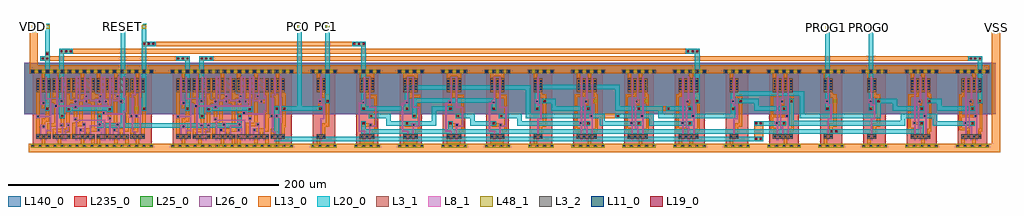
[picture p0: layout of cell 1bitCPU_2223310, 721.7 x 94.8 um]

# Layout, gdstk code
import gdstk
lib = gdstk.Library(unit=1e-6, precision=1e-09)
def R(c, l, rs):  # rectangles x0, y0, x1, y1
    for r in rs: c.add(gdstk.rectangle(r[:2], r[2:], *l))
def A(c, l, x, y, w, h, nx, ny, dx, dy):  # array of equal rectangles
    R(c, l, [(x+i*dx, y+j*dy, x+i*dx+w, y+j*dy+h) for i in range(nx) for j in range(ny)])
def P(c, l, *ps):  # polygons
    for p in ps: c.add(gdstk.Polygon(p, *l))
L3_1 = (3, 1)
L3_2 = (3, 2)
L8_1 = (8, 1)
L11_0 = (11, 0)
L13_0 = (13, 0)
L19_0 = (19, 0)
L20_0 = (20, 0)
L25_0 = (25, 0)
L26_0 = (26, 0)
L48_1 = (48, 1)
L140_0 = (140, 0)
L235_0 = (235, 0)

nand2 = lib.new_cell('NAND2')
A(nand2, L3_1, -1.3, -1.3, 2.6, 2.6, 4, 1, 5.5, 0)
R(nand2, L3_1, [(2.8,39.7,13.4,49.9), (2.8,39.7,13.4,49.9)])
A(nand2, L3_2, -1.3, 53.7, 2.6, 2.6, 4, 1, 5.5, 0)
R(nand2, L3_2, [(2.8,5.1,13.4,8.5)])
P(nand2, L8_1, [(5.6,3.9),(5.6,10.2),(1.8,10.2),(1.8,31.9),(4,31.9),(4,33.5),(5.6,33.5),(5.6,51.1),(6.6,51.1),(6.6,30.9),(2.8,30.9),(2.8,11.2),(6.6,11.2),(6.6,3.9)],
  [(9.6,3.9),(9.6,14),(9.2,14),(9.2,16.6),(11.8,16.6),(11.8,15),(14,15),(14,28),(9.6,28),(9.6,51.1),(10.6,51.1),(10.6,29),(15,29),(15,14),(10.6,14),(10.6,3.9)])
A(nand2, L11_0, -0.5, -0.5, 1, 1, 4, 2, 5.5, 55)
A(nand2, L11_0, 11.6, 41.3, 1, 1, 1, 4, 0, 2)
R(nand2, L11_0, [(3.6,6.3,4.6,7.3), (7.6,6.3,8.6,7.3), (7.6,6.3,8.6,7.3), (11.6,6.3,12.6,7.3), (10,14.8,11,15.8), (4.8,31.7,5.8,32.7), (3.6,41.3,4.6,42.3), (3.6,41.3,4.6,42.3), (3.6,41.3,4.6,42.3), (7.6,41.3,8.6,42.3), (7.6,41.3,8.6,42.3), (7.6,41.3,8.6,42.3), (7.6,41.3,8.6,42.3), (3.6,43.3,4.6,44.3), (3.6,43.3,4.6,44.3), (3.6,43.3,4.6,44.3), (7.6,43.3,8.6,44.3), (7.6,43.3,8.6,44.3), (7.6,43.3,8.6,44.3), (7.6,43.3,8.6,44.3), (3.6,45.3,4.6,46.3), (3.6,45.3,4.6,46.3), (3.6,45.3,4.6,46.3), (7.6,45.3,8.6,46.3), (7.6,45.3,8.6,46.3), (7.6,45.3,8.6,46.3), (7.6,45.3,8.6,46.3), (3.6,47.3,4.6,48.3), (3.6,47.3,4.6,48.3), (3.6,47.3,4.6,48.3), (7.6,47.3,8.6,48.3), (7.6,47.3,8.6,48.3), (7.6,47.3,8.6,48.3), (7.6,47.3,8.6,48.3)])
R(nand2, L13_0, [(6.8,5.1,9.4,8.5)])
P(nand2, L13_0, [(-1.3,-1.3),(-1.3,1.3),(2.8,1.3),(2.8,8.5),(5.4,8.5),(5.4,3.7),(13,3.7),(13,1.3),(17.8,1.3),(17.8,-1.3)],
  [(3.8,14),(3.8,18.2),(7.2,18.2),(7.2,16.6),(11.8,16.6),(11.8,14)],
  [(3.8,25.8),(3.8,29.2),(4,29.2),(4,33.5),(6.6,33.5),(6.6,29.2),(7.2,29.2),(7.2,25.8)],
  [(10.8,5.1),(10.8,8.5),(11.6,8.5),(11.6,12.3),(13.4,12.3),(13.4,20.3),(9.3,20.3),(9.3,23.7),(13.4,23.7),(13.4,35.1),(6.8,35.1),(6.8,49.9),(9.4,49.9),(9.4,37.7),(15.2,37.7),(15.2,10.5),(13.4,10.5),(13.4,5.1)],
  [(2.8,39.7),(2.8,53.7),(-1.3,53.7),(-1.3,56.3),(17.8,56.3),(17.8,53.7),(13.4,53.7),(13.4,39.7),(10.8,39.7),(10.8,51.3),(5.4,51.3),(5.4,39.7)])
R(nand2, L48_1, [(-1.3,-1.3,17.8,1.3), (4.6,15.6,6.4,17.4), (10.1,21.1,11.9,22.9), (4.6,26.6,6.4,28.4), (-1.3,53.7,17.8,56.3)])
R(nand2, L140_0, [(-6.3,23.2,22.8,61.3)])
R(nand2, L235_0, [(0,0,16.5,55)])
nand2.add(gdstk.Label('gnd', (0,0), layer=48, texttype=0))
nand2.add(gdstk.Label('Y', (11,22), layer=48, texttype=0))
nand2.add(gdstk.Label('B', (5.5,16.5), layer=48, texttype=0))
nand2.add(gdstk.Label('A', (5.5,27.5), layer=48, texttype=0))
nand2.add(gdstk.Label('vdd', (0,55), layer=48, texttype=0))

inv_x1 = lib.new_cell('INV_X1')
A(inv_x1, L3_1, -1.3, -1.3, 2.6, 2.6, 4, 1, 5.5, 0)
R(inv_x1, L3_1, [(2.8,39.7,9.4,49.9), (2.8,39.7,9.4,49.9)])
A(inv_x1, L3_2, -1.3, 53.7, 2.6, 2.6, 4, 1, 5.5, 0)
R(inv_x1, L3_2, [(2.8,5.1,9.4,8.5)])
P(inv_x1, L8_1, [(5.6,3.9),(5.6,20.5),(7.7,20.5),(7.7,29.7),(5.6,29.7),(5.6,31.6),(4,31.6),(4,34.2),(5.6,34.2),(5.6,51.1),(6.6,51.1),(6.6,30.7),(8.7,30.7),(8.7,19.5),(6.6,19.5),(6.6,3.9)])
A(inv_x1, L11_0, -0.5, -0.5, 1, 1, 4, 2, 5.5, 55)
A(inv_x1, L11_0, 3.6, 41.3, 1, 1, 1, 4, 0, 2)
A(inv_x1, L11_0, 7.6, 41.3, 1, 1, 1, 4, 0, 2)
R(inv_x1, L11_0, [(3.6,6.3,4.6,7.3), (7.6,6.3,8.6,7.3), (4.8,32.4,5.8,33.4)])
P(inv_x1, L13_0, [(-1.3,-1.3),(-1.3,1.3),(2.8,1.3),(2.8,8.5),(5.4,8.5),(5.4,1.3),(17.8,1.3),(17.8,-1.3)],
  [(3.8,25.8),(3.8,29.2),(4,29.2),(4,34.2),(6.6,34.2),(6.6,29.2),(7.2,29.2),(7.2,25.8)],
  [(6.8,5.1),(6.8,16.5),(9.7,16.5),(9.7,31.3),(9.3,31.3),(9.3,35.6),(6.8,35.6),(6.8,49.9),(9.4,49.9),(9.4,38.2),(12.3,38.2),(12.3,34.7),(12.7,34.7),(12.7,31.3),(12.3,31.3),(12.3,13.9),(9.4,13.9),(9.4,5.1)],
  [(2.8,39.7),(2.8,53.7),(-1.3,53.7),(-1.3,56.3),(17.8,56.3),(17.8,53.7),(5.4,53.7),(5.4,39.7)])
R(inv_x1, L48_1, [(-1.3,-1.3,17.8,1.3), (4.6,26.6,6.4,28.4), (10.1,32.1,11.9,33.9), (-1.3,53.7,17.8,56.3)])
R(inv_x1, L140_0, [(-6.3,23.2,22.8,61.3)])
R(inv_x1, L235_0, [(0,0,16.5,55)])
inv_x1.add(gdstk.Label('A', (5.5,27.5), layer=48, texttype=0))
inv_x1.add(gdstk.Label('vdd', (0,55), layer=48, texttype=0))
inv_x1.add(gdstk.Label('gnd', (0,0), layer=48, texttype=0))
inv_x1.add(gdstk.Label('Y', (11,33), layer=48, texttype=0))

and2_x1 = lib.new_cell('AND2_X1')
A(and2_x1, L3_1, -1.3, -1.3, 2.6, 2.6, 5, 1, 5.5, 0)
R(and2_x1, L3_1, [(2.8,39.7,17.4,49.9), (2.8,39.7,17.4,49.9)])
A(and2_x1, L3_2, -1.3, 53.7, 2.6, 2.6, 5, 1, 5.5, 0)
R(and2_x1, L3_2, [(2.8,5.1,17.4,8.5)])
P(and2_x1, L8_1, [(5.6,3.9),(5.6,15.6),(4.3,15.6),(4.3,18.2),(5.6,18.2),(5.6,51.1),(6.6,51.1),(6.6,18.2),(6.9,18.2),(6.9,15.6),(6.6,15.6),(6.6,3.9)],
  [(9.6,3.9),(9.6,13),(8.1,13),(8.1,33.9),(9.6,33.9),(9.6,51.1),(10.6,51.1),(10.6,33.9),(10.7,33.9),(10.7,31.3),(9.1,31.3),(9.1,14),(10.6,14),(10.6,3.9)],
  [(13.6,3.9),(13.6,20.6),(12,20.6),(12,23.2),(13.6,23.2),(13.6,51.1),(14.6,51.1),(14.6,3.9)])
A(and2_x1, L11_0, -0.5, -0.5, 1, 1, 5, 2, 5.5, 55)
A(and2_x1, L11_0, 3.6, 41.3, 1, 1, 1, 4, 0, 2)
A(and2_x1, L11_0, 15.6, 41.3, 1, 1, 1, 4, 0, 2)
R(and2_x1, L11_0, [(3.6,6.3,4.6,7.3), (7.6,6.3,8.6,7.3), (7.6,6.3,8.6,7.3), (11.6,6.3,12.6,7.3), (11.6,6.3,12.6,7.3), (15.6,6.3,16.6,7.3), (5.1,16.4,6.1,17.4), (12.8,21.4,13.8,22.4), (8.9,32.1,9.9,33.1), (7.6,41.3,8.6,42.3), (7.6,41.3,8.6,42.3), (11.6,41.3,12.6,42.3), (11.6,41.3,12.6,42.3), (7.6,43.3,8.6,44.3), (7.6,43.3,8.6,44.3), (11.6,43.3,12.6,44.3), (11.6,43.3,12.6,44.3), (7.6,45.3,8.6,46.3), (7.6,45.3,8.6,46.3), (11.6,45.3,12.6,46.3), (11.6,45.3,12.6,46.3), (7.6,47.3,8.6,48.3), (7.6,47.3,8.6,48.3), (11.6,47.3,12.6,48.3), (11.6,47.3,12.6,48.3)])
R(and2_x1, L13_0, [(6.8,5.1,9.4,8.5)])
P(and2_x1, L13_0, [(-1.3,-1.3),(-1.3,1.3),(10.8,1.3),(10.8,8.5),(13.4,8.5),(13.4,1.3),(23.3,1.3),(23.3,-1.3)],
  [(9.3,14.8),(9.3,15.6),(4.3,15.6),(4.3,18.2),(6.9,18.2),(6.9,17.4),(9.3,17.4),(9.3,18.2),(12.7,18.2),(12.7,14.8)],
  [(9.3,25.8),(9.3,31.3),(8.1,31.3),(8.1,33.9),(11.1,33.9),(11.1,29.2),(12.7,29.2),(12.7,25.8)],
  [(2.8,5.1),(2.8,8.5),(3.2,8.5),(3.2,11.4),(1.1,11.4),(1.1,38),(7.2,38),(7.2,39.7),(6.8,39.7),(6.8,49.9),(9.4,49.9),(9.4,39.7),(9,39.7),(9,36.2),(2.9,36.2),(2.9,22.8),(12,22.8),(12,23.2),(14.6,23.2),(14.6,20.6),(12,20.6),(12,21),(2.9,21),(2.9,13.2),(5,13.2),(5,8.5),(5.4,8.5),(5.4,5.1)],
  [(14.8,5.1),(14.8,8.5),(15.2,8.5),(15.2,12.6),(16.4,12.6),(16.4,31.3),(14.8,31.3),(14.8,34.7),(16.4,34.7),(16.4,36.2),(15.2,36.2),(15.2,39.7),(14.8,39.7),(14.8,49.9),(17.4,49.9),(17.4,39.7),(17,39.7),(17,38),(18.2,38),(18.2,10.8),(17,10.8),(17,8.5),(17.4,8.5),(17.4,5.1)],
  [(2.8,39.7),(2.8,53.7),(-1.3,53.7),(-1.3,56.3),(23.3,56.3),(23.3,53.7),(13.4,53.7),(13.4,39.7),(10.8,39.7),(10.8,53.7),(5.4,53.7),(5.4,39.7)])
R(and2_x1, L48_1, [(-1.3,-1.3,23.3,1.3), (10.1,15.6,11.9,17.4), (10.1,26.6,11.9,28.4), (15.6,32.1,17.4,33.9), (-1.3,53.7,23.3,56.3)])
R(and2_x1, L140_0, [(-6.3,23.2,28.3,61.3)])
R(and2_x1, L235_0, [(0,0,22,55)])
and2_x1.add(gdstk.Label('vdd', (0,55), layer=48, texttype=0))
and2_x1.add(gdstk.Label('gnd', (0,0), layer=48, texttype=0))
and2_x1.add(gdstk.Label('Y', (16.5,33), layer=48, texttype=0))
and2_x1.add(gdstk.Label('A', (11,16.5), layer=48, texttype=0))
and2_x1.add(gdstk.Label('B', (11,27.5), layer=48, texttype=0))

or2 = lib.new_cell('OR2')
A(or2, L3_1, -1.3, -1.3, 2.6, 2.6, 5, 1, 5.5, 0)
R(or2, L3_1, [(2.8,39.7,17.4,49.9), (2.8,39.7,17.4,49.9)])
A(or2, L3_2, -1.3, 53.7, 2.6, 2.6, 5, 1, 5.5, 0)
R(or2, L3_2, [(2.8,5.1,17.4,8.5)])
P(or2, L8_1, [(5.6,3.9),(5.6,15.6),(4.3,15.6),(4.3,18.2),(5.6,18.2),(5.6,51.1),(6.6,51.1),(6.6,18.2),(6.9,18.2),(6.9,15.6),(6.6,15.6),(6.6,3.9)],
  [(9.6,3.9),(9.6,13),(8.1,13),(8.1,33.9),(9.6,33.9),(9.6,51.1),(10.6,51.1),(10.6,33.9),(10.7,33.9),(10.7,31.3),(9.1,31.3),(9.1,14),(10.6,14),(10.6,3.9)],
  [(13.6,3.9),(13.6,20.6),(12,20.6),(12,23.2),(13.6,23.2),(13.6,51.1),(14.6,51.1),(14.6,3.9)])
A(or2, L11_0, -0.5, -0.5, 1, 1, 5, 2, 5.5, 55)
A(or2, L11_0, 3.6, 41.3, 1, 1, 1, 4, 0, 2)
A(or2, L11_0, 15.6, 41.3, 1, 1, 1, 4, 0, 2)
R(or2, L11_0, [(3.6,6.3,4.6,7.3), (7.6,6.3,8.6,7.3), (7.6,6.3,8.6,7.3), (11.6,6.3,12.6,7.3), (11.6,6.3,12.6,7.3), (15.6,6.3,16.6,7.3), (5.1,16.4,6.1,17.4), (12.8,21.4,13.8,22.4), (8.9,32.1,9.9,33.1), (7.6,41.3,8.6,42.3), (7.6,41.3,8.6,42.3), (11.6,41.3,12.6,42.3), (11.6,41.3,12.6,42.3), (7.6,43.3,8.6,44.3), (7.6,43.3,8.6,44.3), (11.6,43.3,12.6,44.3), (11.6,43.3,12.6,44.3), (7.6,45.3,8.6,46.3), (7.6,45.3,8.6,46.3), (11.6,45.3,12.6,46.3), (11.6,45.3,12.6,46.3), (7.6,47.3,8.6,48.3), (7.6,47.3,8.6,48.3), (11.6,47.3,12.6,48.3), (11.6,47.3,12.6,48.3)])
R(or2, L13_0, [(6.8,39.7,9.4,49.9)])
P(or2, L13_0, [(-1.3,-1.3),(-1.3,1.3),(2.8,1.3),(2.8,8.5),(5.4,8.5),(5.4,1.3),(10.8,1.3),(10.8,8.5),(13.4,8.5),(13.4,1.3),(23.3,1.3),(23.3,-1.3)],
  [(9.3,14.8),(9.3,15.6),(4.3,15.6),(4.3,18.2),(6.9,18.2),(6.9,17.4),(9.3,17.4),(9.3,18.2),(12.7,18.2),(12.7,14.8)],
  [(9.3,25.8),(9.3,31.3),(8.1,31.3),(8.1,33.9),(11.1,33.9),(11.1,29.2),(12.7,29.2),(12.7,25.8)],
  [(6.8,5.1),(6.8,8.5),(7.2,8.5),(7.2,11.4),(1.1,11.4),(1.1,38),(3.2,38),(3.2,39.7),(2.8,39.7),(2.8,49.9),(5.4,49.9),(5.4,39.7),(5,39.7),(5,36.2),(2.9,36.2),(2.9,22.8),(12,22.8),(12,23.2),(14.6,23.2),(14.6,20.6),(12,20.6),(12,21),(2.9,21),(2.9,13.2),(9,13.2),(9,8.5),(9.4,8.5),(9.4,5.1)],
  [(14.8,5.1),(14.8,8.5),(15.2,8.5),(15.2,12.6),(16.4,12.6),(16.4,31.3),(14.8,31.3),(14.8,34.7),(16.4,34.7),(16.4,36.2),(15.2,36.2),(15.2,39.7),(14.8,39.7),(14.8,49.9),(17.4,49.9),(17.4,39.7),(17,39.7),(17,38),(18.2,38),(18.2,10.8),(17,10.8),(17,8.5),(17.4,8.5),(17.4,5.1)],
  [(10.8,39.7),(10.8,53.7),(-1.3,53.7),(-1.3,56.3),(23.3,56.3),(23.3,53.7),(13.4,53.7),(13.4,39.7)])
R(or2, L48_1, [(-1.3,-1.3,23.3,1.3), (10.1,15.6,11.9,17.4), (10.1,26.6,11.9,28.4), (15.6,32.1,17.4,33.9), (-1.3,53.7,23.3,56.3)])
R(or2, L140_0, [(-6.3,23.2,28.3,61.3)])
R(or2, L235_0, [(0,0,22,55)])
or2.add(gdstk.Label('Y', (16.5,33), layer=48, texttype=0))
or2.add(gdstk.Label('A', (11,16.5), layer=48, texttype=0))
or2.add(gdstk.Label('B', (11,27.5), layer=48, texttype=0))
or2.add(gdstk.Label('vdd', (0,55), layer=48, texttype=0))
or2.add(gdstk.Label('gnd', (0,0), layer=48, texttype=0))

via_1 = lib.new_cell('via_1')
R(via_1, L13_0, [(-1.7,-1.7,1.7,1.7)])
R(via_1, L19_0, [(-0.7,-0.7,0.7,0.7)])
R(via_1, L20_0, [(-1.7,-1.7,1.7,1.7)])

dffr = lib.new_cell('DFFR')
A(dffr, L3_1, -1.3, -1.3, 2.6, 2.6, 17, 1, 5.5, 0)
R(dffr, L3_1, [(2.8,39.7,13.4,49.9), (2.8,39.7,13.4,49.9), (14.8,39.7,27.8,49.9), (14.8,39.7,27.8,49.9), (29.2,39.7,46.2,49.9), (29.2,39.7,46.2,49.9), (47.6,39.7,71,49.9), (47.6,39.7,71,49.9), (72.4,39.7,83,49.9), (72.4,39.7,83,49.9)])
A(dffr, L3_2, -1.3, 53.7, 2.6, 2.6, 17, 1, 5.5, 0)
R(dffr, L3_2, [(2.8,5.1,13.4,8.5), (14.8,5.1,27.8,8.5), (29.2,5.1,46.2,8.5), (47.6,5.1,71,8.5), (72.4,5.1,83,8.5)])
P(dffr, L8_1, [(34.4,3.9),(34.4,12.9),(37,12.9),(37,10.3),(35.4,10.3),(35.4,3.9)],
  [(50.4,3.9),(50.4,10.3),(47.6,10.3),(47.6,12.9),(51.4,12.9),(51.4,3.9)],
  [(59.2,3.9),(59.2,12.9),(61.8,12.9),(61.8,10.3),(60.2,10.3),(60.2,3.9)],
  [(5.6,3.9),(5.6,15.65),(9.4,15.65),(9.4,13.05),(6.6,13.05),(6.6,3.9)],
  [(21.6,3.9),(21.6,13.9),(20,13.9),(20,16.5),(22.6,16.5),(22.6,3.9)],
  [(24,3.9),(24,11.7),(25.9,11.7),(25.9,13.9),(25.1,13.9),(25.1,16.5),(27.7,16.5),(27.7,13.9),(26.9,13.9),(26.9,10.7),(25,10.7),(25,3.9)],
  [(38.4,3.9),(38.4,14.3),(36.8,14.3),(36.8,16.9),(39.4,16.9),(39.4,3.9)],
  [(42.4,3.9),(42.4,15.3),(48.2,15.3),(48.2,16.9),(50.8,16.9),(50.8,14.3),(43.4,14.3),(43.4,3.9)],
  [(63.2,3.9),(63.2,14.3),(61.6,14.3),(61.6,16.9),(64.2,16.9),(64.2,3.9)],
  [(32,3.9),(32,18.3),(30.4,18.3),(30.4,20.9),(33,20.9),(33,19.3),(53.8,19.3),(53.8,3.9),(52.8,3.9),(52.8,18.3),(33,18.3),(33,3.9)],
  [(56.8,3.9),(56.8,18.9),(55.8,18.9),(55.8,21.5),(58.4,21.5),(58.4,18.9),(57.8,18.9),(57.8,3.9)],
  [(5.6,30.25),(5.6,51.1),(6.6,51.1),(6.6,32.85),(9.4,32.85),(9.4,30.25)],
  [(9.6,3.9),(9.6,11.65),(12.9,11.65),(12.9,21.2),(5.4,21.2),(5.4,20.4),(2.8,20.4),(2.8,23),(5.4,23),(5.4,22.2),(12.9,22.2),(12.9,34.25),(9.6,34.25),(9.6,51.1),(10.6,51.1),(10.6,35.25),(13.9,35.25),(13.9,10.65),(10.6,10.65),(10.6,3.9)],
  [(20,31.7),(20,34.3),(21.6,34.3),(21.6,51.1),(22.6,51.1),(22.6,31.7)],
  [(30.4,31.3),(30.4,33.9),(32,33.9),(32,51.1),(33,51.1),(33,31.3)],
  [(38.4,31.3),(38.4,32.9),(34.4,32.9),(34.4,51.1),(35.4,51.1),(35.4,33.9),(41,33.9),(41,31.3)],
  [(38.4,35.3),(38.4,51.1),(39.4,51.1),(39.4,37.9),(41,37.9),(41,35.3)],
  [(48.2,31.3),(48.2,32.9),(42.4,32.9),(42.4,51.1),(43.4,51.1),(43.4,33.9),(50.8,33.9),(50.8,31.3)],
  [(48.8,35.3),(48.8,37.9),(50.4,37.9),(50.4,51.1),(51.4,51.1),(51.4,35.3)],
  [(52.8,31.3),(52.8,51.1),(53.8,51.1),(53.8,33.9),(55.4,33.9),(55.4,31.3)],
  [(17.6,3.9),(17.6,28.1),(16,28.1),(16,30.7),(17.6,30.7),(17.6,51.1),(18.6,51.1),(18.6,29.9),(24,29.9),(24,51.1),(25,51.1),(25,29.9),(56.8,29.9),(56.8,51.1),(57.8,51.1),(57.8,28.9),(33,28.9),(33,27.3),(30.4,27.3),(30.4,28.9),(18.6,28.9),(18.6,3.9)],
  [(64.2,31.3),(64.2,32.9),(59.2,32.9),(59.2,51.1),(60.2,51.1),(60.2,33.9),(66.8,33.9),(66.8,31.3)],
  [(61.6,35.3),(61.6,37.9),(63.2,37.9),(63.2,51.1),(64.2,51.1),(64.2,35.3)],
  [(67.2,3.9),(67.2,22.9),(51.4,22.9),(51.4,25.5),(54,25.5),(54,23.9),(67.2,23.9),(67.2,25.7),(68.4,25.7),(68.4,35.9),(67.2,35.9),(67.2,51.1),(68.2,51.1),(68.2,36.9),(69.4,36.9),(69.4,24.7),(68.2,24.7),(68.2,3.9)],
  [(75.2,3.9),(75.2,9.9),(73.3,9.9),(73.3,20.7),(71.7,20.7),(71.7,23.3),(73.3,23.3),(73.3,38.3),(75.2,38.3),(75.2,51.1),(76.2,51.1),(76.2,37.3),(74.3,37.3),(74.3,10.9),(76.2,10.9),(76.2,3.9)],
  [(79.2,3.9),(79.2,20.7),(75.7,20.7),(75.7,23.3),(79.2,23.3),(79.2,51.1),(80.2,51.1),(80.2,3.9)])
A(dffr, L11_0, -0.5, -0.5, 1, 1, 17, 2, 5.5, 55)
A(dffr, L11_0, 7.6, 6.3, 1, 1, 4, 2, 4, 35)
A(dffr, L11_0, 40.4, 6.3, 1, 1, 3, 1, 4, 0)
A(dffr, L11_0, 65.2, 6.3, 1, 1, 4, 1, 4, 0)
A(dffr, L11_0, 3.6, 41.3, 1, 1, 1, 4, 0, 2)
A(dffr, L11_0, 7.6, 41.3, 1, 1, 1, 4, 0, 2)
A(dffr, L11_0, 19.6, 41.3, 1, 1, 1, 4, 0, 2)
A(dffr, L11_0, 26, 41.3, 1, 1, 1, 4, 0, 2)
A(dffr, L11_0, 30, 41.3, 1, 1, 1, 4, 0, 2)
A(dffr, L11_0, 44.4, 41.3, 1, 1, 1, 4, 0, 2)
A(dffr, L11_0, 48.4, 41.3, 1, 1, 1, 4, 0, 2)
A(dffr, L11_0, 69.2, 41.3, 1, 1, 3, 4, 4, 2)
A(dffr, L11_0, 77.2, 41.3, 1, 1, 1, 4, 0, 2)
A(dffr, L11_0, 81.2, 41.3, 1, 1, 1, 4, 0, 2)
A(dffr, L11_0, 7.6, 43.3, 1, 1, 4, 3, 4, 2)
R(dffr, L11_0, [(3.6,6.3,4.6,7.3), (7.6,6.3,8.6,7.3), (19.6,6.3,20.6,7.3), (26,6.3,27,7.3), (30,6.3,31,7.3), (36.4,6.3,37.4,7.3), (36.4,6.3,37.4,7.3), (40.4,6.3,41.4,7.3), (54.8,6.3,55.8,7.3), (54.8,6.3,55.8,7.3), (61.2,6.3,62.2,7.3), (61.2,6.3,62.2,7.3), (65.2,6.3,66.2,7.3), (77.2,6.3,78.2,7.3), (81.2,6.3,82.2,7.3), (35.2,11.1,36.2,12.1), (48.4,11.1,49.4,12.1), (60,11.1,61,12.1), (7.6,13.85,8.6,14.85), (20.8,14.7,21.8,15.7), (25.9,14.7,26.9,15.7), (37.6,15.1,38.6,16.1), (49,15.1,50,16.1), (62.4,15.1,63.4,16.1), (31.2,19.1,32.2,20.1), (56.6,19.7,57.6,20.7), (3.6,21.2,4.6,22.2), (72.5,21.5,73.5,22.5), (76.5,21.5,77.5,22.5), (52.2,23.7,53.2,24.7), (31.2,28.1,32.2,29.1), (16.8,28.9,17.8,29.9), (7.6,31.05,8.6,32.05), (31.2,32.1,32.2,33.1), (39.2,32.1,40.2,33.1), (49,32.1,50,33.1), (53.6,32.1,54.6,33.1), (65,32.1,66,33.1), (20.8,32.5,21.8,33.5), (39.2,36.1,40.2,37.1), (49.6,36.1,50.6,37.1), (62.4,36.1,63.4,37.1), (36.4,41.3,37.4,42.3), (36.4,41.3,37.4,42.3), (54.8,41.3,55.8,42.3), (54.8,41.3,55.8,42.3), (61.2,41.3,62.2,42.3), (61.2,41.3,62.2,42.3), (36.4,43.3,37.4,44.3), (36.4,43.3,37.4,44.3), (54.8,43.3,55.8,44.3), (54.8,43.3,55.8,44.3), (61.2,43.3,62.2,44.3), (61.2,43.3,62.2,44.3), (36.4,45.3,37.4,46.3), (36.4,45.3,37.4,46.3), (54.8,45.3,55.8,46.3), (54.8,45.3,55.8,46.3), (61.2,45.3,62.2,46.3), (61.2,45.3,62.2,46.3), (36.4,47.3,37.4,48.3), (36.4,47.3,37.4,48.3), (54.8,47.3,55.8,48.3), (54.8,47.3,55.8,48.3), (61.2,47.3,62.2,48.3), (61.2,47.3,62.2,48.3)])
R(dffr, L13_0, [(2.8,5.1,5.4,49.9), (30.4,18.3,33,29.9)])
P(dffr, L13_0, [(6.8,13.05),(6.8,20.5),(9.7,20.5),(9.7,25.8),(9.3,25.8),(9.3,27.7),(6.8,27.7),(6.8,32.85),(9.4,32.85),(9.4,30.3),(12.3,30.3),(12.3,29.2),(12.7,29.2),(12.7,25.8),(12.3,25.8),(12.3,17.9),(9.4,17.9),(9.4,13.05)],
  [(10.8,5.1),(10.8,16.5),(16,16.5),(16,31.7),(10.8,31.7),(10.8,49.9),(13.4,49.9),(13.4,34.3),(18.6,34.3),(18.6,13.9),(13.4,13.9),(13.4,5.1)],
  [(39.6,5.1),(39.6,10.3),(34.4,10.3),(34.4,12.9),(43.6,12.9),(43.6,31.3),(38.4,31.3),(38.4,33.9),(43.6,33.9),(43.6,49.9),(46.2,49.9),(46.2,37.9),(51.4,37.9),(51.4,35.3),(46.2,35.3),(46.2,12.9),(50.2,12.9),(50.2,10.3),(42.2,10.3),(42.2,5.1)],
  [(64.4,5.1),(64.4,10.3),(59.2,10.3),(59.2,12.9),(68.4,12.9),(68.4,31.3),(64.2,31.3),(64.2,33.9),(68.4,33.9),(68.4,49.9),(71,49.9),(71,23.3),(74.3,23.3),(74.3,20.7),(71,20.7),(71,10.3),(67,10.3),(67,5.1)],
  [(80.4,5.1),(80.4,16.4),(81.2,16.4),(81.2,25.8),(80.8,25.8),(80.8,29.2),(81.2,29.2),(81.2,35.7),(80.4,35.7),(80.4,49.9),(83,49.9),(83,38.3),(83.8,38.3),(83.8,29.2),(84.2,29.2),(84.2,25.8),(83.8,25.8),(83.8,13.8),(83,13.8),(83,5.1)],
  [(25.2,5.1),(25.2,8.5),(29.2,8.5),(29.2,16.9),(34.4,16.9),(34.4,35.3),(29.2,35.3),(29.2,39.7),(25.2,39.7),(25.2,49.9),(31.8,49.9),(31.8,37.9),(41,37.9),(41,35.3),(37,35.3),(37,16.9),(39.4,16.9),(39.4,14.3),(31.8,14.3),(31.8,5.1)],
  [(-1.3,-1.3),(-1.3,1.3),(6.8,1.3),(6.8,8.5),(9.4,8.5),(9.4,1.3),(18.8,1.3),(18.8,8.5),(21.4,8.5),(21.4,1.3),(35.6,1.3),(35.6,8.5),(38.2,8.5),(38.2,1.3),(43.6,1.3),(43.6,8.5),(46.2,8.5),(46.2,1.3),(47.6,1.3),(47.6,8.5),(50.2,8.5),(50.2,1.3),(60.4,1.3),(60.4,8.5),(63,8.5),(63,1.3),(68.4,1.3),(68.4,8.5),(71,8.5),(71,1.3),(76.4,1.3),(76.4,8.5),(79,8.5),(79,1.3),(89.3,1.3),(89.3,-1.3)],
  [(48.2,14.3),(48.2,20.3),(47.8,20.3),(47.8,23.7),(48.2,23.7),(48.2,33.9),(50.8,33.9),(50.8,25.5),(54,25.5),(54,22.9),(51.2,22.9),(51.2,20.3),(50.8,20.3),(50.8,14.3)],
  [(55.8,18.9),(55.8,25.3),(55.4,25.3),(55.4,28.7),(55.8,28.7),(55.8,31.3),(52.8,31.3),(52.8,33.9),(58.4,33.9),(58.4,28.7),(58.8,28.7),(58.8,25.3),(58.4,25.3),(58.4,18.9)],
  [(20,13.9),(20,16.5),(20.7,16.5),(20.7,20.3),(20.3,20.3),(20.3,23.7),(20.7,23.7),(20.7,31.7),(20,31.7),(20,34.3),(23.3,34.3),(23.3,23.7),(23.7,23.7),(23.7,20.3),(23.3,20.3),(23.3,13.9)],
  [(14.8,5.1),(14.8,12.5),(25.1,12.5),(25.1,35.7),(14.8,35.7),(14.8,49.9),(17.4,49.9),(17.4,38.3),(27.7,38.3),(27.7,33.9),(33,33.9),(33,31.3),(27.7,31.3),(27.7,28.7),(28.5,28.7),(28.5,25.3),(27.7,25.3),(27.7,9.9),(17.4,9.9),(17.4,5.1)],
  [(54,5.1),(54,16.9),(60.2,16.9),(60.2,35.3),(54,35.3),(54,49.9),(56.6,49.9),(56.6,37.9),(64.2,37.9),(64.2,35.3),(62.8,35.3),(62.8,16.9),(64.2,16.9),(64.2,14.3),(56.6,14.3),(56.6,5.1)],
  [(72.4,5.1),(72.4,12.5),(75.7,12.5),(75.7,25.8),(75.3,25.8),(75.3,29.2),(75.7,29.2),(75.7,35.7),(72.4,35.7),(72.4,49.9),(75,49.9),(75,38.3),(78.3,38.3),(78.3,29.2),(78.7,29.2),(78.7,25.8),(78.3,25.8),(78.3,9.9),(75,9.9),(75,5.1)],
  [(6.8,39.7),(6.8,53.7),(-1.3,53.7),(-1.3,56.3),(89.3,56.3),(89.3,53.7),(79,53.7),(79,39.7),(76.4,39.7),(76.4,53.7),(63,53.7),(63,39.7),(60.4,39.7),(60.4,53.7),(50.2,53.7),(50.2,39.7),(47.6,39.7),(47.6,53.7),(38.2,53.7),(38.2,39.7),(35.6,39.7),(35.6,53.7),(21.4,53.7),(21.4,39.7),(18.8,39.7),(18.8,53.7),(9.4,53.7),(9.4,39.7)])
R(dffr, L19_0, [(26.1,26.3,27.5,27.7), (56.4,26.3,57.8,27.7)])
P(dffr, L20_0, [(25.1,25.3),(25.1,29.1),(58.8,29.1),(58.8,25.3),(55.4,25.3),(55.4,25.7),(28.5,25.7),(28.5,25.3)])
R(dffr, L48_1, [(-1.3,-1.3,89.3,1.3), (21.1,21.1,22.9,22.9), (48.6,21.1,50.4,22.9), (10.1,26.6,11.9,28.4), (76.1,26.6,77.9,28.4), (81.6,26.6,83.4,28.4), (-1.3,53.7,89.3,56.3)])
R(dffr, L140_0, [(-6.3,23.2,94.3,61.3)])
R(dffr, L235_0, [(0,0,88,55), (0,0,88,55)])
dffr.add(gdstk.Label('D', (22,22), layer=48, texttype=0))
dffr.add(gdstk.Label('RST', (49.5,22), layer=48, texttype=0))
dffr.add(gdstk.Label('QB', (77,27.5), layer=48, texttype=0))
dffr.add(gdstk.Label('Q', (82.5,27.5), layer=48, texttype=0))
dffr.add(gdstk.Label('gnd', (0,0), layer=48, texttype=0))
dffr.add(gdstk.Label('CK', (11,27.5), layer=48, texttype=0))
dffr.add(gdstk.Label('vdd', (0,55), layer=48, texttype=0))

c_1bitcpu_2223310 = lib.new_cell('1bitCPU_2223310')
R(c_1bitcpu_2223310, L13_0, [(533.5,3.4,540.3,18.2)])
R(c_1bitcpu_2223310, L25_0, [(-6.3,23.2,712.4,61.3)])
R(c_1bitcpu_2223310, L26_0, [(-6.3,23.2,712.4,61.3)])
R(c_1bitcpu_2223310, L48_1, [(-0.8,86.4,2.3,89.4), (9.5,86.4,12.6,89.4), (65.5,86.4,68.6,89.4), (80.9,86.4,84,89.4), (195.9,86.4,199,89.4), (216.7,86.4,219.8,89.4), (586.2,86.4,589.3,89.4), (618.3,86.4,621.4,89.4), (710.9,86.4,714,89.4)])
R(c_1bitcpu_2223310, L140_0, [(-6.3,23.2,712.4,61.3)])
c_1bitcpu_2223310.add(gdstk.FlexPath([(707.4,56.7),(-1.3,56.7)], 6, ends="flush", simple_path=True, layer=13, datatype=0))  # L13_0
c_1bitcpu_2223310.add(gdstk.FlexPath([(10.1,64.5),(116.3,64.5)], 3.4, ends="flush", simple_path=True, layer=13, datatype=0))  # L13_0
c_1bitcpu_2223310.add(gdstk.FlexPath([(19.7,69.9),(493.2,69.9)], 3.4, ends="flush", simple_path=True, layer=13, datatype=0))  # L13_0
c_1bitcpu_2223310.add(gdstk.FlexPath([(80.8,75.3),(246.5,75.3)], 3.4, ends="flush", simple_path=True, layer=13, datatype=0))  # L13_0
c_1bitcpu_2223310.add(gdstk.FlexPath([(123.3,64.5),(702.3,64.5)], 3.4, ends="flush", simple_path=True, layer=13, datatype=0))  # L13_0
c_1bitcpu_2223310.add(gdstk.FlexPath([(-2.8,-1.7),(711.9,-1.7)], 6, ends="flush", simple_path=True, layer=13, datatype=0))  # L13_0
c_1bitcpu_2223310.add(gdstk.FlexPath([(0.8,53.7),(0.8,90)], 6, ends="flush", simple_path=True, layer=13, datatype=0))  # L13_0
c_1bitcpu_2223310.add(gdstk.FlexPath([(712.4,-4.7),(712.4,89.9)], 6, ends="flush", simple_path=True, layer=13, datatype=0))  # L13_0
c_1bitcpu_2223310.add(gdstk.FlexPath([(472,27.5),(453.8,27.5)], 3.4, ends="flush", simple_path=True, layer=13, datatype=0))  # L13_0
c_1bitcpu_2223310.add(gdstk.FlexPath([(434.4,22),(416.2,22)], 3.4, ends="flush", simple_path=True, layer=13, datatype=0))  # L13_0
c_1bitcpu_2223310.add(gdstk.FlexPath([(244.8,25.8),(244.8,77)], 3.4, ends="flush", simple_path=True, layer=20, datatype=0))  # L20_0
c_1bitcpu_2223310.add(gdstk.FlexPath([(619.9,25.8),(619.9,89.9)], 3.4, ends="flush", simple_path=True, layer=20, datatype=0))  # L20_0
c_1bitcpu_2223310.add(gdstk.FlexPath([(700.6,31.3),(700.6,66.2)], 3.4, ends="flush", simple_path=True, layer=20, datatype=0))  # L20_0
c_1bitcpu_2223310.add(gdstk.FlexPath([(114.6,25.8),(114.6,66.2)], 3.4, ends="flush", simple_path=True, layer=20, datatype=0))  # L20_0
c_1bitcpu_2223310.add(gdstk.FlexPath([(125,20.3),(125,66.2)], 3.4, ends="flush", simple_path=True, layer=20, datatype=0))  # L20_0
c_1bitcpu_2223310.add(gdstk.FlexPath([(21.4,20.3),(21.4,71.6)], 3.4, ends="flush", simple_path=True, layer=20, datatype=0))  # L20_0
c_1bitcpu_2223310.add(gdstk.FlexPath([(491.5,31.3),(491.5,71.6)], 3.4, ends="flush", simple_path=True, layer=20, datatype=0))  # L20_0
c_1bitcpu_2223310.add(gdstk.FlexPath([(587.8,25.8),(587.8,90)], 3.4, ends="flush", simple_path=True, layer=20, datatype=0))  # L20_0
c_1bitcpu_2223310.add(gdstk.FlexPath([(218.2,31.3),(218.2,90)], 3.4, ends="flush", simple_path=True, layer=20, datatype=0))  # L20_0
c_1bitcpu_2223310.add(gdstk.FlexPath([(197.4,27.2),(197.4,90)], 3.4, ends="flush", simple_path=True, layer=20, datatype=0))  # L20_0
c_1bitcpu_2223310.add(gdstk.FlexPath([(67,15.4),(67,90.1)], 3.4, ends="flush", simple_path=True, layer=20, datatype=0))  # L20_0
c_1bitcpu_2223310.add(gdstk.FlexPath([(82.5,25.8),(82.5,90.1)], 3.4, ends="flush", simple_path=True, layer=20, datatype=0))  # L20_0
c_1bitcpu_2223310.add(gdstk.FlexPath([(11,25.8),(11,90.1)], 3.4, ends="flush", simple_path=True, layer=20, datatype=0))  # L20_0
c_1bitcpu_2223310.add(gdstk.FlexPath([(180.6,29.2),(180.6,5.1),(537,5.1)], 3.4, ends="flush", simple_path=True, layer=20, datatype=0))  # L20_0
c_1bitcpu_2223310.add(gdstk.FlexPath([(184.4,27.5),(214.4,27.5)], 3.4, ends="flush", simple_path=True, layer=20, datatype=0))  # L20_0
c_1bitcpu_2223310.add(gdstk.FlexPath([(49.5,23.7),(49.5,14.9),(153.1,14.9),(153.1,23.7)], 3.4, ends="flush", simple_path=True, layer=20, datatype=0))  # L20_0
c_1bitcpu_2223310.add(gdstk.FlexPath([(248.6,22),(263.2,22),(263.2,16.5),(278.6,16.5)], 3.4, ends="flush", simple_path=True, layer=20, datatype=0))  # L20_0
c_1bitcpu_2223310.add(gdstk.FlexPath([(275.2,16.4),(296.8,16.4),(296.8,27.5),(310.7,27.5)], 3.4, ends="flush", simple_path=True, layer=20, datatype=0))  # L20_0
c_1bitcpu_2223310.add(gdstk.FlexPath([(244.8,18.2),(244.8,10.6),(309,10.6),(309,18.2)], 3.4, ends="flush", simple_path=True, layer=20, datatype=0))  # L20_0
c_1bitcpu_2223310.add(gdstk.FlexPath([(308.9,10.6),(657.5,10.6),(657.5,18.2)], 3.4, ends="flush", simple_path=True, layer=20, datatype=0))  # L20_0
c_1bitcpu_2223310.add(gdstk.FlexPath([(557.2,16.5),(533.5,16.5)], 3.4, ends="flush", simple_path=True, layer=20, datatype=0))  # L20_0
c_1bitcpu_2223310.add(gdstk.FlexPath([(661.3,33),(670.5,33),(670.5,27.5),(696.8,27.5)], 3.4, ends="flush", simple_path=True, layer=20, datatype=0))  # L20_0
c_1bitcpu_2223310.add(gdstk.FlexPath([(625.4,34.7),(625.4,22.1),(569.1,22.1),(569.1,38.7)], 3.4, ends="flush", simple_path=True, layer=20, datatype=0))  # L20_0
c_1bitcpu_2223310.add(gdstk.FlexPath([(659.2,27.5),(637.8,27.5),(637.8,33),(623.7,33)], 3.4, ends="flush", simple_path=True, layer=20, datatype=0))  # L20_0
c_1bitcpu_2223310.add(gdstk.FlexPath([(557.4,27.5),(535.4,27.5),(535.4,33),(521.9,33)], 3.4, ends="flush", simple_path=True, layer=20, datatype=0))  # L20_0
c_1bitcpu_2223310.add(gdstk.FlexPath([(561.2,22),(561.2,16.6),(643.6,16.6),(643.6,23.6)], 3.4, ends="flush", simple_path=True, layer=20, datatype=0))  # L20_0
c_1bitcpu_2223310.add(gdstk.FlexPath([(643.6,21.9),(667.4,21.9),(667.4,16.5),(696.8,16.5)], 3.4, ends="flush", simple_path=True, layer=20, datatype=0))  # L20_0
c_1bitcpu_2223310.add(gdstk.FlexPath([(561.2,34.7),(561.2,16.6)], 3.4, ends="flush", simple_path=True, layer=20, datatype=0))  # L20_0
c_1bitcpu_2223310.add(gdstk.FlexPath([(518.1,25.8),(518.1,38.7),(570.8,38.7)], 3.4, ends="flush", simple_path=True, layer=20, datatype=0))  # L20_0
c_1bitcpu_2223310.add(gdstk.FlexPath([(487.7,27.5),(468.6,27.5)], 3.4, ends="flush", simple_path=True, layer=20, datatype=0))  # L20_0
c_1bitcpu_2223310.add(gdstk.FlexPath([(487.7,16.5),(457.8,16.5),(457.8,22),(431,22)], 3.4, ends="flush", simple_path=True, layer=20, datatype=0))  # L20_0
c_1bitcpu_2223310.add(gdstk.FlexPath([(412.5,27.5),(385.3,27.5),(385.3,33),(377,33)], 3.4, ends="flush", simple_path=True, layer=20, datatype=0))  # L20_0
c_1bitcpu_2223310.add(gdstk.FlexPath([(373.2,25.8),(373.2,43.4),(432.6,43.4),(432.6,27.5),(450.1,27.5)], 3.4, ends="flush", simple_path=True, layer=20, datatype=0))  # L20_0
c_1bitcpu_2223310.add(gdstk.FlexPath([(344.9,22),(360,22),(360,16.5),(412.5,16.5)], 3.4, ends="flush", simple_path=True, layer=20, datatype=0))  # L20_0
c_1bitcpu_2223310.add(gdstk.FlexPath([(312.8,22),(325.3,22),(325.3,16.5),(342.8,16.5)], 3.4, ends="flush", simple_path=True, layer=20, datatype=0))  # L20_0
c_1bitcpu_2223310.add(gdstk.FlexPath([(282.4,20.3),(282.4,33.5),(341.1,33.5),(341.1,25.8)], 3.4, ends="flush", simple_path=True, layer=20, datatype=0))  # L20_0
c_1bitcpu_2223310.add(gdstk.FlexPath([(446.7,27.5),(464.4,27.5),(464.4,21.9),(518.1,21.9),(518.1,29.2)], 3.4, ends="flush", simple_path=True, layer=20, datatype=0))  # L20_0
c_1bitcpu_2223310.add(gdstk.FlexPath([(278.6,27.5),(243.1,27.5)], 3.4, ends="flush", simple_path=True, layer=20, datatype=0))  # L20_0
c_1bitcpu_2223310.add(gdstk.FlexPath([(450.1,16.5),(421.3,16.5),(421.3,22.1),(366.6,22.1),(366.6,43.1),(276.9,43.1),(276.9,25.8)], 3.4, ends="flush", simple_path=True, layer=20, datatype=0))  # L20_0
c_1bitcpu_2223310.add(gdstk.Reference(nand2, (239.3,0)))
c_1bitcpu_2223310.add(gdstk.Reference(inv_x1, (207.2,0)))
c_1bitcpu_2223310.add(gdstk.Reference(nand2, (271.4,0)))
c_1bitcpu_2223310.add(gdstk.Reference(nand2, (303.5,0)))
c_1bitcpu_2223310.add(gdstk.Reference(nand2, (335.6,0)))
c_1bitcpu_2223310.add(gdstk.Reference(inv_x1, (367.7,0)))
c_1bitcpu_2223310.add(gdstk.Reference(and2_x1, (399.8,0)))
c_1bitcpu_2223310.add(gdstk.Reference(and2_x1, (437.4,0)))
c_1bitcpu_2223310.add(gdstk.Reference(or2, (475,0)))
c_1bitcpu_2223310.add(gdstk.Reference(inv_x1, (512.6,0)))
c_1bitcpu_2223310.add(gdstk.Reference(and2_x1, (544.7,0)))
c_1bitcpu_2223310.add(gdstk.Reference(inv_x1, (582.3,0)))
c_1bitcpu_2223310.add(gdstk.Reference(inv_x1, (614.4,0)))
c_1bitcpu_2223310.add(gdstk.Reference(and2_x1, (646.5,0)))
c_1bitcpu_2223310.add(gdstk.Reference(or2, (684.1,0)))
c_1bitcpu_2223310.add(gdstk.Reference(via_1, (11,27.5)))
c_1bitcpu_2223310.add(gdstk.Reference(via_1, (22,22)))
c_1bitcpu_2223310.add(gdstk.Reference(via_1, (49.5,22)))
c_1bitcpu_2223310.add(gdstk.Reference(via_1, (244.8,27.5)))
c_1bitcpu_2223310.add(gdstk.Reference(via_1, (82.5,27.5)))
c_1bitcpu_2223310.add(gdstk.Reference(via_1, (114.6,27.5)))
c_1bitcpu_2223310.add(gdstk.Reference(via_1, (125.6,22)))
c_1bitcpu_2223310.add(gdstk.Reference(via_1, (153.1,22)))
c_1bitcpu_2223310.add(gdstk.Reference(via_1, (180.6,27.5)))
c_1bitcpu_2223310.add(gdstk.Reference(via_1, (186.1,27.5)))
c_1bitcpu_2223310.add(gdstk.Reference(via_1, (212.7,27.5)))
c_1bitcpu_2223310.add(gdstk.Reference(via_1, (218.2,33)))
c_1bitcpu_2223310.add(gdstk.Reference(via_1, (276.9,16.5)))
c_1bitcpu_2223310.add(gdstk.Reference(via_1, (276.9,27.5)))
c_1bitcpu_2223310.add(gdstk.Reference(via_1, (309,27.5)))
c_1bitcpu_2223310.add(gdstk.Reference(via_1, (309,16.5)))
c_1bitcpu_2223310.add(gdstk.Reference(via_1, (341.1,27.5)))
c_1bitcpu_2223310.add(gdstk.Reference(via_1, (341.1,16.5)))
c_1bitcpu_2223310.add(gdstk.Reference(via_1, (373.2,27.5)))
c_1bitcpu_2223310.add(gdstk.Reference(via_1, (378.7,33)))
c_1bitcpu_2223310.add(gdstk.Reference(via_1, (282.4,22)))
c_1bitcpu_2223310.add(gdstk.Reference(via_1, (314.5,22)))
c_1bitcpu_2223310.add(gdstk.Reference(via_1, (346.6,22)))
c_1bitcpu_2223310.add(gdstk.Reference(via_1, (244.8,16.5)))
c_1bitcpu_2223310.add(gdstk.Reference(via_1, (250.3,22)))
c_1bitcpu_2223310.add(gdstk.Reference(via_1, (657.5,16.5)))
c_1bitcpu_2223310.add(gdstk.Reference(via_1, (535.2,5.1)))
c_1bitcpu_2223310.add(gdstk.Reference(via_1, (538.6,5.1)))
c_1bitcpu_2223310.add(gdstk.Reference(via_1, (555.7,16.5)))
c_1bitcpu_2223310.add(gdstk.Reference(via_1, (535.2,16.5)))
c_1bitcpu_2223310.add(gdstk.Reference(via_1, (538.6,16.5)))
c_1bitcpu_2223310.add(gdstk.Reference(via_1, (663,33)))
c_1bitcpu_2223310.add(gdstk.Reference(via_1, (695.1,27.5)))
c_1bitcpu_2223310.add(gdstk.Reference(via_1, (695.1,16.5)))
c_1bitcpu_2223310.add(gdstk.Reference(via_1, (700.6,33)))
c_1bitcpu_2223310.add(gdstk.Reference(via_1, (657.5,27.5)))
c_1bitcpu_2223310.add(gdstk.Reference(via_1, (625.4,33)))
c_1bitcpu_2223310.add(gdstk.Reference(via_1, (619.9,27.5)))
c_1bitcpu_2223310.add(gdstk.Reference(via_1, (561.2,33)))
c_1bitcpu_2223310.add(gdstk.Reference(via_1, (555.7,27.5)))
c_1bitcpu_2223310.add(gdstk.Reference(via_1, (587.8,27.5)))
c_1bitcpu_2223310.add(gdstk.Reference(via_1, (590.8,10.6)))
c_1bitcpu_2223310.add(gdstk.Reference(via_1, (594.2,10.6)))
c_1bitcpu_2223310.add(gdstk.Reference(via_1, (523.6,33)))
c_1bitcpu_2223310.add(gdstk.Reference(via_1, (518.1,27.5)))
c_1bitcpu_2223310.add(gdstk.Reference(via_1, (491.5,33)))
c_1bitcpu_2223310.add(gdstk.Reference(via_1, (486,16.5)))
c_1bitcpu_2223310.add(gdstk.Reference(via_1, (486,27.5)))
c_1bitcpu_2223310.add(gdstk.Reference(via_1, (470.3,27.5)))
c_1bitcpu_2223310.add(gdstk.Reference(via_1, (432.7,22)))
c_1bitcpu_2223310.add(gdstk.Reference(via_1, (448.4,16.5)))
c_1bitcpu_2223310.add(gdstk.Reference(via_1, (448.4,27.5)))
c_1bitcpu_2223310.add(gdstk.Reference(via_1, (410.8,27.5)))
c_1bitcpu_2223310.add(gdstk.Reference(via_1, (410.8,16.5)))
c_1bitcpu_2223310.add(gdstk.Reference(via_1, (11,64.5)))
c_1bitcpu_2223310.add(gdstk.Reference(via_1, (7.6,64.5)))
c_1bitcpu_2223310.add(gdstk.Reference(via_1, (114.6,64.5)))
c_1bitcpu_2223310.add(gdstk.Reference(via_1, (111.2,64.5)))
c_1bitcpu_2223310.add(gdstk.Reference(via_1, (107.8,64.5)))
c_1bitcpu_2223310.add(gdstk.Reference(via_1, (11,67.9)))
c_1bitcpu_2223310.add(gdstk.Reference(via_1, (125,64.5)))
c_1bitcpu_2223310.add(gdstk.Reference(via_1, (128.4,64.5)))
c_1bitcpu_2223310.add(gdstk.Reference(via_1, (131.8,64.5)))
c_1bitcpu_2223310.add(gdstk.Reference(via_1, (700.6,64.5)))
c_1bitcpu_2223310.add(gdstk.Reference(via_1, (697.2,64.5)))
c_1bitcpu_2223310.add(gdstk.Reference(via_1, (693.8,64.5)))
c_1bitcpu_2223310.add(gdstk.Reference(via_1, (491.5,69.9)))
c_1bitcpu_2223310.add(gdstk.Reference(via_1, (488.1,69.9)))
c_1bitcpu_2223310.add(gdstk.Reference(via_1, (484.7,69.9)))
c_1bitcpu_2223310.add(gdstk.Reference(via_1, (21.4,69.9)))
c_1bitcpu_2223310.add(gdstk.Reference(via_1, (24.8,69.9)))
c_1bitcpu_2223310.add(gdstk.Reference(via_1, (28.2,69.9)))
c_1bitcpu_2223310.add(gdstk.Reference(via_1, (244.8,75.3)))
c_1bitcpu_2223310.add(gdstk.Reference(via_1, (241.4,75.3)))
c_1bitcpu_2223310.add(gdstk.Reference(via_1, (238,75.3)))
c_1bitcpu_2223310.add(gdstk.Reference(via_1, (82.5,75.3)))
c_1bitcpu_2223310.add(gdstk.Reference(via_1, (85.9,75.3)))
c_1bitcpu_2223310.add(gdstk.Reference(via_1, (89.3,75.3)))
c_1bitcpu_2223310.add(gdstk.Reference(dffr, (0,0)))
c_1bitcpu_2223310.add(gdstk.Reference(dffr, (103.6,0)))
c_1bitcpu_2223310.add(gdstk.Label('VDD', (-0.2,88.1), layer=48, texttype=0))
c_1bitcpu_2223310.add(gdstk.Label('VSS', (712.5,87.4), layer=48, texttype=0))
c_1bitcpu_2223310.add(gdstk.Label('CLK', (10.4,87.9), layer=49, texttype=0))
c_1bitcpu_2223310.add(gdstk.Label('RESET', (66.2,88), layer=49, texttype=0))
c_1bitcpu_2223310.add(gdstk.Label('REG0', (82.1,88), layer=49, texttype=0))
c_1bitcpu_2223310.add(gdstk.Label('PC0', (196.8,88.5), layer=49, texttype=0))
c_1bitcpu_2223310.add(gdstk.Label('PC1', (217.6,88.5), layer=49, texttype=0))
c_1bitcpu_2223310.add(gdstk.Label('PROG1', (587,87.5), layer=49, texttype=0))
c_1bitcpu_2223310.add(gdstk.Label('PROG0', (618.8,87.2), layer=49, texttype=0))

lib.write_gds('1bitCPU_2223310.gds')
